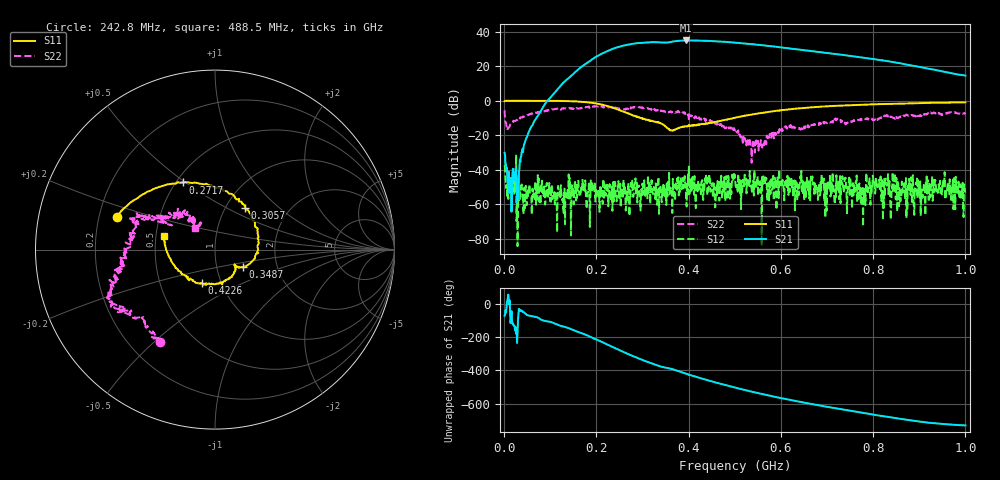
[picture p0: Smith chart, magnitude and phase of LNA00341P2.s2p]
! Created with skrf 1.9.0 (http://scikit-rf.org).
# Hz S RI R 50.0
!freq ReS11 ImS11 ReS21 ImS21 ReS12 ImS12 ReS22 ImS22
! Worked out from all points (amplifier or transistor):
!   1001 points, 1 MHz to 1 GHz, reference 50 ohm
!   highest |S21| = 34.9 dB at 394.6 MHz (marker M1)
!   |S21| within 3 dB of that: 258.4 MHz to 568.1 MHz (309.6 MHz wide, 74.9 % of centre)
!   unconditionally stable (mu >= 1): 215.1 MHz to 311.6 MHz; 311.8 MHz to 400.5 MHz; 400.7 MHz to end of sweep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
!   at 166.8 MHz: K = 1.93, MAG = 29.5 dB, |S12| = -50.6 dB
!   at 500.5 MHz: K = 1.40, MAG = 34.5 dB, |S12| = -42.9 dB
!   at 1 GHz: K = 6.79, MAG = 22.6 dB, |S12| = -53.2 dB
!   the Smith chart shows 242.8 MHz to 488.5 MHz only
!   S11 on the Smith chart (normalised r, x): 242.8 MHz: 0.27, +0.15; 271.7 MHz: 0.54, +0.49; 305.7 MHz: 1.23, +0.62; 348.7 MHz: 1.34, -0.26; 422.6 MHz: 0.81, -0.31; 488.5 MHz: 0.55, +0.09
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1000000  0.9682 0.0051  0.00923 -0.0296  0.00284 0.0134  0.4174 0.3208
1.08892e8  0.5039 -0.8571  -0.797 -1.469  0.000204 0.00224  0.4327 -0.3645
1.67833e8  -0.2632 -0.893  -9.612 -0.5295  -0.00106 -0.003  0.0442 -0.626
2.09791e8  -0.6937 -0.3551  -15.26 16.22  0.00199 -0.00185  -0.1927 -0.6533
2.42758e8  -0.5487 0.1843  -0.2801 34.19  -0.000403 -0.00152  -0.307 -0.5145
2.71729e8  -0.1778 0.3739  24.6 34.83  0.000272 0.000375  -0.488 -0.3393
3.05695e8  0.1672 0.2331  45.9 13.76  -0.0012 -0.0013  -0.5791 -0.2246
3.34666e8  0.2415 -0.0192  47.88 -10.13  -0.00266 0.0057  -0.4968 -0.0444
3.48652e8  0.1576 -0.0952  44.33 -18.16  0.00118 0.00106  -0.4909 0.00636
3.71629e8  0.1134 -0.0973  41.71 -32.54  0.00205 0.00232  -0.4366 0.1612
3.94606e8  0.064 -0.1691  28.2 -47.56  -0.000482 0.00154  -0.41 0.1725
4.22578e8  -0.0727 -0.1844  6.456 -54.28  0.00249 -0.00182  -0.2576 0.2057
4.53547e8  -0.2129 -0.1054  -15.86 -50.26  0.00168 0.00026  -0.1393 0.1782
4.88512e8  -0.2838 0.0756  -33.81 -35.77  0.0031 -0.00277  -0.1104 0.1188
5.005e8  -0.2923 0.1421  -37.89 -29.62  0.000892 0.00711  -0.0661 0.1261
5.4046e8  -0.2031 0.3513  -41.79 -8.571  0.00196 -0.00337  -0.0394 0.0244
5.88412e8  0.0114 0.5078  -34.62 11.35  0.00369 -1.38e-05  -0.0776 -0.0645
6.67333e8  0.3999 0.5073  -13.19 23.5  0.00296 -0.00399  -0.1896 -0.0657
7.53247e8  0.6838 0.29  4.018 19.07  -0.00255 -0.00023  -0.2488 -0.00923
8.34166e8  0.8068 0.0206  10.23 9.183  -0.00196 6.68e-06  -0.3667 -0.025
9.09091e8  0.8215 -0.2464  8.805 1.846  -0.00289 -0.000149  -0.3626 0.1138
1e9  0.7319 -0.5241  5.289 -0.7364  -0.00073 -0.00207  -0.3375 0.2946
